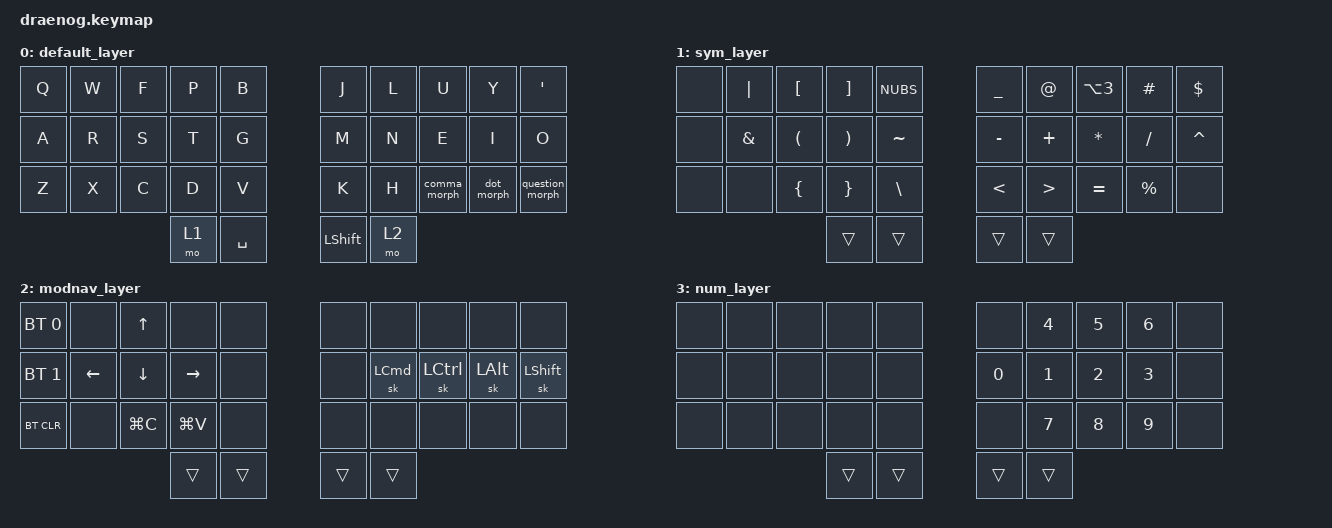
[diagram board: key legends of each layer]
/*
 * Copyright (c) 2020 The ZMK Contributors
 *
 * SPDX-License-Identifier: MIT
 */

#include <behaviors.dtsi>
#include <dt-bindings/zmk/keys.h>
#include <dt-bindings/zmk/bt.h>
#include "./helper.h"

ZMK_BEHAVIOR(comma_morph, mod_morph,
    mods = <(MOD_LSFT|MOD_RSFT)>;
    bindings = <&kp COMMA>, <&kp SEMICOLON>;
)

ZMK_BEHAVIOR(dot_morph, mod_morph,
    bindings = <&kp DOT>, <&kp COLON>;
    mods = <(MOD_LSFT|MOD_RSFT)>;
)

ZMK_BEHAVIOR(question_morph, mod_morph,
    bindings = <&kp QUESTION>, <&kp EXCLAMATION>;
    mods = <(MOD_LSFT|MOD_RSFT)>;
    
)
    
/ {
    conditional_layers {
        compatible = "zmk,conditional-layers";
        tri_layer {
            if-layers = <1 2>;
            then-layer = <3>;
        };
    };
};


/ {
    combos {
        compatible = "zmk,combos";
        combo_enter {
            timeout-ms = <50>;
            key-positions = <16 17 18>;
            bindings = <&kp ENTER>;
        };
        combo_backspace {
            timeout-ms = <100>;
            key-positions = <16 17>;
            bindings = <&kp BACKSPACE>;
        };
        
        combo_esc {
            timeout-ms = <50>;
            key-positions = <11 12 13>;
            bindings = <&kp ESC>;
        };
        combo_tab {
            timeout-ms = <50>;
            key-positions = <12 13>;
            bindings = <&kp TAB>;
        };
    };
};


    
    

/ {
        /* keymap {
                compatible = "zmk,keymap";
                default_layer {
                        bindings = <
   &kp Q &kp W &kp E &kp R &kp T   &kp Y &kp U  &kp I        &kp O      &kp P
   &kp A &kp S &kp D &kp F &kp G   &kp H &kp J  &kp K        &kp L      &kp APOSTROPHE
   &kp Z &kp X &kp C &kp V &kp B   &kp N &kp M  &comma_morph &dot_morph &question_morph
                 &mo 1 &kp SPACE   &kp LSHIFT &mo 2
                        >;
                };
               */
                
        keymap {
                compatible = "zmk,keymap";
                default_layer {
                        bindings = <
   &kp Q &kp W &kp F &kp P &kp B   &kp J &kp L  &kp U        &kp Y      &kp APOSTROPHE
   &kp A &kp R &kp S &kp T &kp G   &kp M &kp N  &kp E        &kp I      &kp O
   &kp Z &kp X &kp C &kp D &kp V   &kp K &kp H  &comma_morph &dot_morph &question_morph
                 &mo 1 &kp SPACE   &kp LSHIFT &mo 2
                        >;
                };

                
                sym_layer {
                        bindings = <
   &none &kp PIPE &kp LBKT  &kp RBKT &kp NUBS   &kp UNDER &kp AT &kp LA(N3) &kp HASH &kp DOLLAR
   &none &kp AMPS &kp LPAR  &kp RPAR &kp TILDE   &kp MINUS &kp PLUS &kp STAR  &kp FSLH  &kp CARET
   &none &none &kp LBRC  &kp RBRC &kp BSLH    &kp LT    &kp GT   &kp EQUAL &kp PRCNT &none
                         &trans   &trans      &trans  &trans
                        >;
                };
                
                modnav_layer {
                        bindings = <
   &bt BT_SEL 0 &none    &kp UP    &none     &none   &none &none    &none      &none     &none
   &bt BT_SEL 1 &kp LEFT &kp DOWN  &kp RIGHT &none   &none &sk LCMD &sk LCTRL  &sk LALT  &sk LSHFT
   &bt BT_CLR &none    &kp LG(C) &kp LG(V)    &none   &none &none    &none      &none     &none
                  &trans      &trans   &trans  &trans
                        >;
                };
                
                num_layer {
                        bindings = <
   &none &none &none &none &none   &none &kp N4    &kp N5      &kp N6     &none
   &none &none &none &none &none   &kp N0 &kp N1 &kp N2  &kp N3  &none 
   &none &none &none &none &none   &none &kp N7    &kp N8      &kp N9     &none
                  &trans   &trans   &trans  &trans
                        >;
                };
                
                
        };
    };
